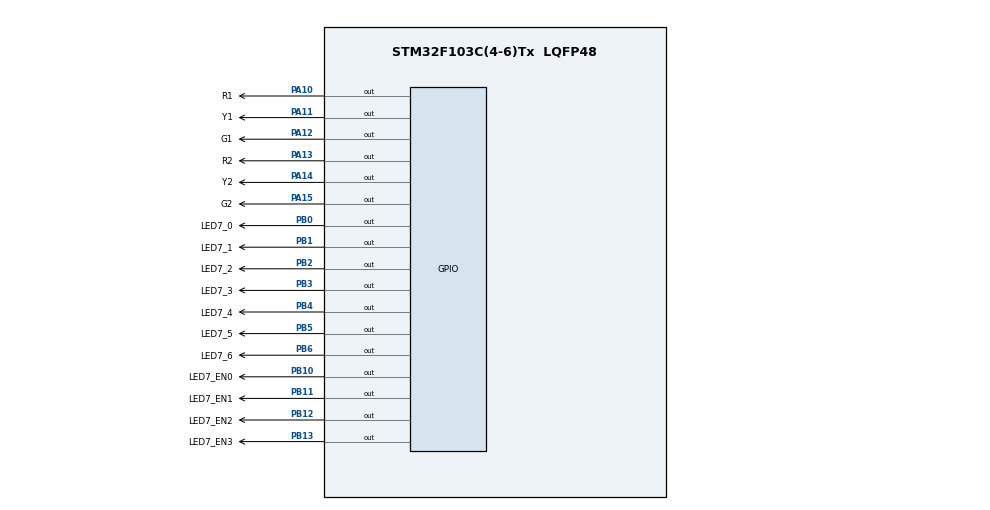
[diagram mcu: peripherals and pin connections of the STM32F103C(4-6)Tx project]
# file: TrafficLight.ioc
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Mcu.Family=STM32F1
Mcu.Name=STM32F103C(4-6)Tx
Mcu.Package=LQFP48
NVIC.PriorityGroup=NVIC_PRIORITYGROUP_4
PA10.GPIO_Label=R1
PA10.Signal=GPIO_Output
PA11.GPIO_Label=Y1
PA11.Signal=GPIO_Output
PA12.GPIO_Label=G1
PA12.Signal=GPIO_Output
PA13.GPIO_Label=R2
PA13.Signal=GPIO_Output
PA14.GPIO_Label=Y2
PA14.Signal=GPIO_Output
PA15.GPIO_Label=G2
PA15.Signal=GPIO_Output
PB0.GPIO_Label=LED7_0
PB0.Signal=GPIO_Output
PB1.GPIO_Label=LED7_1
PB1.Signal=GPIO_Output
PB10.GPIO_Label=LED7_EN0
PB10.Signal=GPIO_Output
PB11.GPIO_Label=LED7_EN1
PB11.Signal=GPIO_Output
PB12.GPIO_Label=LED7_EN2
PB12.Signal=GPIO_Output
PB13.GPIO_Label=LED7_EN3
PB13.Signal=GPIO_Output
PB2.GPIO_Label=LED7_2
PB2.Signal=GPIO_Output
PB3.GPIO_Label=LED7_3
PB3.Signal=GPIO_Output
PB4.GPIO_Label=LED7_4
PB4.Signal=GPIO_Output
PB5.GPIO_Label=LED7_5
PB5.Signal=GPIO_Output
PB6.GPIO_Label=LED7_6
PB6.Signal=GPIO_Output
ProjectManager.HeapSize=0x200
ProjectManager.StackSize=0x400
ProjectManager.TargetToolchain=STM32CubeIDE
RCC.APB1Freq_Value=8000000
RCC.APB2Freq_Value=8000000
VP_SYS_VS_ND.Mode=No_Debug
board=custom

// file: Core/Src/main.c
/* USER CODE BEGIN Header */
/**
  ******************************************************************************
  * @file           : main.c
  * @brief          : Main program body
  ******************************************************************************
  * @attention
  *
  * Copyright (c) 2023 STMicroelectronics.
  * All rights reserved.
  *
  * This software is licensed under terms that can be found in the LICENSE file
  * in the root directory of this software component.
  * If no LICENSE file comes with this software, it is provided AS-IS.
  *
  ******************************************************************************
  */
/* USER CODE END Header */
#include "main.h"

void SystemClock_Config(void);
static void MX_GPIO_Init(void);
/* USER CODE BEGIN PFP */
void display7SEG(int num);
/* USER CODE END PFP */

/* USER CODE BEGIN 0 */
enum ledColor {
	GREEN,
	YELLOW,
	RED
};
/* USER CODE END 0 */

int main(void)
{

  /* MCU Configuration--------------------------------------------------------*/

  /* Reset of all peripherals, Initializes the Flash interface and the Systick. */
  HAL_Init();

  /* Configure the system clock */
  SystemClock_Config();

  /* Initialize all configured peripherals */
  MX_GPIO_Init();
  /* USER CODE BEGIN 2 */
  int c_1s = 50;

  int c_Red1 = 26;
  int c_Green1 = 22;
  int c_Yellow1 = 4;
  enum ledColor cur_color1 = GREEN;

  int c_Red2 = 26;
  int c_Green2 = 22;
  int c_Yellow2 = 4;
  enum ledColor cur_color2 = RED;

  int counter1 = 21;
  int counter2 = 25;

  int sw_led = 0;

  /* USER CODE END 2 */

  /* Infinite loop */
  /* USER CODE BEGIN WHILE */

  HAL_GPIO_WritePin(R1_GPIO_Port, R1_Pin, GPIO_PIN_RESET);
  HAL_GPIO_WritePin(G1_GPIO_Port, G1_Pin, GPIO_PIN_SET);
  HAL_GPIO_WritePin(Y1_GPIO_Port, Y1_Pin, GPIO_PIN_RESET);

  HAL_GPIO_WritePin(R2_GPIO_Port, R2_Pin, GPIO_PIN_SET);
  HAL_GPIO_WritePin(G2_GPIO_Port, G2_Pin, GPIO_PIN_RESET);
  HAL_GPIO_WritePin(Y2_GPIO_Port, Y2_Pin, GPIO_PIN_RESET);

  while (1)
  {
	  if (c_Green1 <= 0)
	  {
		  HAL_GPIO_WritePin(R1_GPIO_Port, R1_Pin, GPIO_PIN_RESET);
		  HAL_GPIO_WritePin(G1_GPIO_Port, G1_Pin, GPIO_PIN_RESET);
		  HAL_GPIO_WritePin(Y1_GPIO_Port, Y1_Pin, GPIO_PIN_SET);
		  c_Green1 = 22;
		  cur_color1 = YELLOW;
		  counter1 = 3;
	  }
	  if (c_Yellow1 <= 0)
	  {
		  HAL_GPIO_WritePin(R1_GPIO_Port, R1_Pin, GPIO_PIN_SET);
		  HAL_GPIO_WritePin(G1_GPIO_Port, G1_Pin, GPIO_PIN_RESET);
		  HAL_GPIO_WritePin(Y1_GPIO_Port, Y1_Pin, GPIO_PIN_RESET);
		  c_Yellow1 = 4;
		  cur_color1 = RED;
		  counter1 = 25;
	  }
	  if (c_Red1 <= 0)
	  {
		  HAL_GPIO_WritePin(R1_GPIO_Port, R1_Pin, GPIO_PIN_RESET);
		  HAL_GPIO_WritePin(G1_GPIO_Port, G1_Pin, GPIO_PIN_SET);
		  HAL_GPIO_WritePin(Y1_GPIO_Port, Y1_Pin, GPIO_PIN_RESET);
		  c_Red1 = 26;
		  cur_color1 = GREEN;
		  counter1 = 21;
	  }

	  if (c_Green2 <= 0)
	  {
		  HAL_GPIO_WritePin(R2_GPIO_Port, R2_Pin, GPIO_PIN_RESET);
		  HAL_GPIO_WritePin(G2_GPIO_Port, G2_Pin, GPIO_PIN_RESET);
		  HAL_GPIO_WritePin(Y2_GPIO_Port, Y2_Pin, GPIO_PIN_SET);
		  c_Green2 = 21;
		  cur_color2 = YELLOW;
		  counter2 = 3;
	  }
	  if (c_Yellow2 <= 0)
	  {
		  HAL_GPIO_WritePin(R2_GPIO_Port, R2_Pin, GPIO_PIN_SET);
		  HAL_GPIO_WritePin(G2_GPIO_Port, G2_Pin, GPIO_PIN_RESET);
		  HAL_GPIO_WritePin(Y2_GPIO_Port, Y2_Pin, GPIO_PIN_RESET);
		  c_Yellow2 = 3;
		  cur_color2 = RED;
		  counter2 = 25;
	  }
	  if (c_Red2 <= 0)
	  {
		  HAL_GPIO_WritePin(R2_GPIO_Port, R2_Pin, GPIO_PIN_RESET);
		  HAL_GPIO_WritePin(G2_GPIO_Port, G2_Pin, GPIO_PIN_SET);
		  HAL_GPIO_WritePin(Y2_GPIO_Port, Y2_Pin, GPIO_PIN_RESET);
		  c_Red2 = 25;
		  cur_color2 = GREEN;
		  counter2 = 21;
	  }

	  if (c_1s <= 0)
	  {
		  switch (cur_color1)
		  {
			  case GREEN:
				  c_Green1--;
				  break;
			  case YELLOW:
				  c_Yellow1--;
				  break;
			  case RED:
				  c_Red1--;
				  break;
		  }
		  switch (cur_color2)
		  {
			  case GREEN:
				  c_Green2--;
				  break;
			  case YELLOW:
				  c_Yellow2--;
				  break;
			  case RED:
				  c_Red2--;
				  break;
		  }
		  counter1--;
		  counter2--;
		  c_1s = 50;
	  }

	  switch (sw_led)
	  {
		  case 0:
			  HAL_GPIO_WritePin(LED7_EN3_GPIO_Port, LED7_EN3_Pin, GPIO_PIN_RESET);
			  HAL_GPIO_WritePin(LED7_EN0_GPIO_Port, LED7_EN0_Pin, GPIO_PIN_SET);
			  display7SEG(counter1 / 10);
			  sw_led = 1;
			  break;
		  case 1:
			  HAL_GPIO_WritePin(LED7_EN0_GPIO_Port, LED7_EN0_Pin, GPIO_PIN_RESET);
			  HAL_GPIO_WritePin(LED7_EN1_GPIO_Port, LED7_EN1_Pin, GPIO_PIN_SET);
			  display7SEG(counter1 % 10);
			  sw_led = 2;
			  break;
		  case 2:
			  HAL_GPIO_WritePin(LED7_EN1_GPIO_Port, LED7_EN1_Pin, GPIO_PIN_RESET);
			  HAL_GPIO_WritePin(LED7_EN2_GPIO_Port, LED7_EN2_Pin, GPIO_PIN_SET);
			  display7SEG(counter2 / 10);
			  sw_led = 3;
			  break;
		  case 3:
			  HAL_GPIO_WritePin(LED7_EN2_GPIO_Port, LED7_EN2_Pin, GPIO_PIN_RESET);
			  HAL_GPIO_WritePin(LED7_EN3_GPIO_Port, LED7_EN3_Pin, GPIO_PIN_SET);
			  display7SEG(counter2 % 10);
			  sw_led = 0;
			  break;
	  }
	  c_1s--;

	  HAL_Delay(10);
    /* USER CODE END WHILE */

  }
}

void SystemClock_Config(void)
{
  RCC_OscInitTypeDef RCC_OscInitStruct = {0};
  RCC_ClkInitTypeDef RCC_ClkInitStruct = {0};

  /** Initializes the RCC Oscillators according to the specified parameters
  * in the RCC_OscInitTypeDef structure.
  */
  RCC_OscInitStruct.OscillatorType = RCC_OSCILLATORTYPE_HSI;
  RCC_OscInitStruct.HSIState = RCC_HSI_ON;
  RCC_OscInitStruct.HSICalibrationValue = RCC_HSICALIBRATION_DEFAULT;
  RCC_OscInitStruct.PLL.PLLState = RCC_PLL_NONE;
  if (HAL_RCC_OscConfig(&RCC_OscInitStruct) != HAL_OK)
  {
    Error_Handler();
  }

  /** Initializes the CPU, AHB and APB buses clocks
  */
  RCC_ClkInitStruct.ClockType = RCC_CLOCKTYPE_HCLK|RCC_CLOCKTYPE_SYSCLK
                              |RCC_CLOCKTYPE_PCLK1|RCC_CLOCKTYPE_PCLK2;
  RCC_ClkInitStruct.SYSCLKSource = RCC_SYSCLKSOURCE_HSI;
  RCC_ClkInitStruct.AHBCLKDivider = RCC_SYSCLK_DIV1;
  RCC_ClkInitStruct.APB1CLKDivider = RCC_HCLK_DIV1;
  RCC_ClkInitStruct.APB2CLKDivider = RCC_HCLK_DIV1;

  if (HAL_RCC_ClockConfig(&RCC_ClkInitStruct, FLASH_LATENCY_0) != HAL_OK)
  {
    Error_Handler();
  }
}

static void MX_GPIO_Init(void)
{
  GPIO_InitTypeDef GPIO_InitStruct = {0};

  /* GPIO Ports Clock Enable */
  __HAL_RCC_GPIOB_CLK_ENABLE();
  __HAL_RCC_GPIOA_CLK_ENABLE();

  /*Configure GPIO pin Output Level */
  HAL_GPIO_WritePin(GPIOB, LED7_0_Pin|LED7_1_Pin|LED7_2_Pin|LED7_EN0_Pin
                          |LED7_EN1_Pin|LED7_EN2_Pin|LED7_EN3_Pin|LED7_3_Pin
                          |LED7_4_Pin|LED7_5_Pin|LED7_6_Pin, GPIO_PIN_RESET);

  /*Configure GPIO pin Output Level */
  HAL_GPIO_WritePin(GPIOA, R1_Pin|Y1_Pin|G1_Pin|R2_Pin
                          |Y2_Pin|G2_Pin, GPIO_PIN_RESET);

  /*Configure GPIO pins : LED7_0_Pin LED7_1_Pin LED7_2_Pin LED7_EN0_Pin
                           LED7_EN1_Pin LED7_EN2_Pin LED7_EN3_Pin LED7_3_Pin
                           LED7_4_Pin LED7_5_Pin LED7_6_Pin */
  GPIO_InitStruct.Pin = LED7_0_Pin|LED7_1_Pin|LED7_2_Pin|LED7_EN0_Pin
                          |LED7_EN1_Pin|LED7_EN2_Pin|LED7_EN3_Pin|LED7_3_Pin
                          |LED7_4_Pin|LED7_5_Pin|LED7_6_Pin;
  GPIO_InitStruct.Mode = GPIO_MODE_OUTPUT_PP;
  GPIO_InitStruct.Pull = GPIO_NOPULL;
  GPIO_InitStruct.Speed = GPIO_SPEED_FREQ_LOW;
  HAL_GPIO_Init(GPIOB, &GPIO_InitStruct);

  /*Configure GPIO pins : R1_Pin Y1_Pin G1_Pin R2_Pin
                           Y2_Pin G2_Pin */
  GPIO_InitStruct.Pin = R1_Pin|Y1_Pin|G1_Pin|R2_Pin
                          |Y2_Pin|G2_Pin;
  GPIO_InitStruct.Mode = GPIO_MODE_OUTPUT_PP;
  GPIO_InitStruct.Pull = GPIO_NOPULL;
  GPIO_InitStruct.Speed = GPIO_SPEED_FREQ_LOW;
  HAL_GPIO_Init(GPIOA, &GPIO_InitStruct);

}

/* USER CODE BEGIN 4 */
void display7SEG(int num)
{

	switch (num)
	{
		case 0:
			HAL_GPIO_WritePin(GPIOB, GPIO_PIN_0, GPIO_PIN_RESET);
			HAL_GPIO_WritePin(GPIOB, GPIO_PIN_1, GPIO_PIN_RESET);
			HAL_GPIO_WritePin(GPIOB, GPIO_PIN_2, GPIO_PIN_RESET);
			HAL_GPIO_WritePin(GPIOB, GPIO_PIN_3, GPIO_PIN_RESET);
			HAL_GPIO_WritePin(GPIOB, GPIO_PIN_4, GPIO_PIN_RESET);
			HAL_GPIO_WritePin(GPIOB, GPIO_PIN_5, GPIO_PIN_RESET);
			HAL_GPIO_WritePin(GPIOB, GPIO_PIN_6, GPIO_PIN_SET);
			break;
		case 1:
			HAL_GPIO_WritePin(GPIOB, GPIO_PIN_0, GPIO_PIN_SET);
			HAL_GPIO_WritePin(GPIOB, GPIO_PIN_1, GPIO_PIN_RESET);
			HAL_GPIO_WritePin(GPIOB, GPIO_PIN_2, GPIO_PIN_RESET);
			HAL_GPIO_WritePin(GPIOB, GPIO_PIN_3, GPIO_PIN_SET);
			HAL_GPIO_WritePin(GPIOB, GPIO_PIN_4, GPIO_PIN_SET);
			HAL_GPIO_WritePin(GPIOB, GPIO_PIN_5, GPIO_PIN_SET);
			HAL_GPIO_WritePin(GPIOB, GPIO_PIN_6, GPIO_PIN_SET);
			break;
		case 2:
			HAL_GPIO_WritePin(GPIOB, GPIO_PIN_0, GPIO_PIN_RESET);
			HAL_GPIO_WritePin(GPIOB, GPIO_PIN_1, GPIO_PIN_RESET);
			HAL_GPIO_WritePin(GPIOB, GPIO_PIN_2, GPIO_PIN_SET);
			HAL_GPIO_WritePin(GPIOB, GPIO_PIN_3, GPIO_PIN_RESET);
			HAL_GPIO_WritePin(GPIOB, GPIO_PIN_4, GPIO_PIN_RESET);
			HAL_GPIO_WritePin(GPIOB, GPIO_PIN_5, GPIO_PIN_SET);
			HAL_GPIO_WritePin(GPIOB, GPIO_PIN_6, GPIO_PIN_RESET);
			break;
		  case 3:
			HAL_GPIO_WritePin(GPIOB, GPIO_PIN_0, GPIO_PIN_RESET);
			HAL_GPIO_WritePin(GPIOB, GPIO_PIN_1, GPIO_PIN_RESET);
			HAL_GPIO_WritePin(GPIOB, GPIO_PIN_2, GPIO_PIN_RESET);
			HAL_GPIO_WritePin(GPIOB, GPIO_PIN_3, GPIO_PIN_RESET);
			HAL_GPIO_WritePin(GPIOB, GPIO_PIN_4, GPIO_PIN_SET);
			HAL_GPIO_WritePin(GPIOB, GPIO_PIN_5, GPIO_PIN_SET);
			HAL_GPIO_WritePin(GPIOB, GPIO_PIN_6, GPIO_PIN_RESET);
			break;
		  case 4:
			HAL_GPIO_WritePin(GPIOB, GPIO_PIN_0, GPIO_PIN_SET);
			HAL_GPIO_WritePin(GPIOB, GPIO_PIN_1, GPIO_PIN_RESET);
			HAL_GPIO_WritePin(GPIOB, GPIO_PIN_2, GPIO_PIN_RESET);
			HAL_GPIO_WritePin(GPIOB, GPIO_PIN_3, GPIO_PIN_SET);
			HAL_GPIO_WritePin(GPIOB, GPIO_PIN_4, GPIO_PIN_SET);
			HAL_GPIO_WritePin(GPIOB, GPIO_PIN_5, GPIO_PIN_RESET);
			HAL_GPIO_WritePin(GPIOB, GPIO_PIN_6, GPIO_PIN_RESET);
			break;
		  case 5:
			HAL_GPIO_WritePin(GPIOB, GPIO_PIN_0, GPIO_PIN_RESET);
			HAL_GPIO_WritePin(GPIOB, GPIO_PIN_1, GPIO_PIN_SET);
			HAL_GPIO_WritePin(GPIOB, GPIO_PIN_2, GPIO_PIN_RESET);
			HAL_GPIO_WritePin(GPIOB, GPIO_PIN_3, GPIO_PIN_RESET);
			HAL_GPIO_WritePin(GPIOB, GPIO_PIN_4, GPIO_PIN_SET);
			HAL_GPIO_WritePin(GPIOB, GPIO_PIN_5, GPIO_PIN_RESET);
			HAL_GPIO_WritePin(GPIOB, GPIO_PIN_6, GPIO_PIN_RESET);
			break;
		  case 6:
			HAL_GPIO_WritePin(GPIOB, GPIO_PIN_0, GPIO_PIN_RESET);
			HAL_GPIO_WritePin(GPIOB, GPIO_PIN_1, GPIO_PIN_SET);
			HAL_GPIO_WritePin(GPIOB, GPIO_PIN_2, GPIO_PIN_RESET);
			HAL_GPIO_WritePin(GPIOB, GPIO_PIN_3, GPIO_PIN_RESET);
			HAL_GPIO_WritePin(GPIOB, GPIO_PIN_4, GPIO_PIN_RESET);
			HAL_GPIO_WritePin(GPIOB, GPIO_PIN_5, GPIO_PIN_RESET);
			HAL_GPIO_WritePin(GPIOB, GPIO_PIN_6, GPIO_PIN_RESET);
			break;
		  case 7:
			HAL_GPIO_WritePin(GPIOB, GPIO_PIN_0, GPIO_PIN_RESET);
			HAL_GPIO_WritePin(GPIOB, GPIO_PIN_1, GPIO_PIN_RESET);
			HAL_GPIO_WritePin(GPIOB, GPIO_PIN_2, GPIO_PIN_RESET);
			HAL_GPIO_WritePin(GPIOB, GPIO_PIN_3, GPIO_PIN_SET);
			HAL_GPIO_WritePin(GPIOB, GPIO_PIN_4, GPIO_PIN_SET);
			HAL_GPIO_WritePin(GPIOB, GPIO_PIN_5, GPIO_PIN_SET);
			HAL_GPIO_WritePin(GPIOB, GPIO_PIN_6, GPIO_PIN_SET);
			break;
		  case 8:
			HAL_GPIO_WritePin(GPIOB, GPIO_PIN_0, GPIO_PIN_RESET);
			HAL_GPIO_WritePin(GPIOB, GPIO_PIN_1, GPIO_PIN_RESET);
			HAL_GPIO_WritePin(GPIOB, GPIO_PIN_2, GPIO_PIN_RESET);
			HAL_GPIO_WritePin(GPIOB, GPIO_PIN_3, GPIO_PIN_RESET);
			HAL_GPIO_WritePin(GPIOB, GPIO_PIN_4, GPIO_PIN_RESET);
			HAL_GPIO_WritePin(GPIOB, GPIO_PIN_5, GPIO_PIN_RESET);
			HAL_GPIO_WritePin(GPIOB, GPIO_PIN_6, GPIO_PIN_RESET);
			break;
		  default:
			HAL_GPIO_WritePin(GPIOB, GPIO_PIN_0, GPIO_PIN_RESET);
			HAL_GPIO_WritePin(GPIOB, GPIO_PIN_1, GPIO_PIN_RESET);
			HAL_GPIO_WritePin(GPIOB, GPIO_PIN_2, GPIO_PIN_RESET);
			HAL_GPIO_WritePin(GPIOB, GPIO_PIN_3, GPIO_PIN_RESET);
			HAL_GPIO_WritePin(GPIOB, GPIO_PIN_4, GPIO_PIN_SET);
			HAL_GPIO_WritePin(GPIOB, GPIO_PIN_5, GPIO_PIN_RESET);
			HAL_GPIO_WritePin(GPIOB, GPIO_PIN_6, GPIO_PIN_RESET);
			break;
	}
}
/* USER CODE END 4 */

void Error_Handler(void)
{
  __disable_irq();
  while (1)
  {
  }
}
